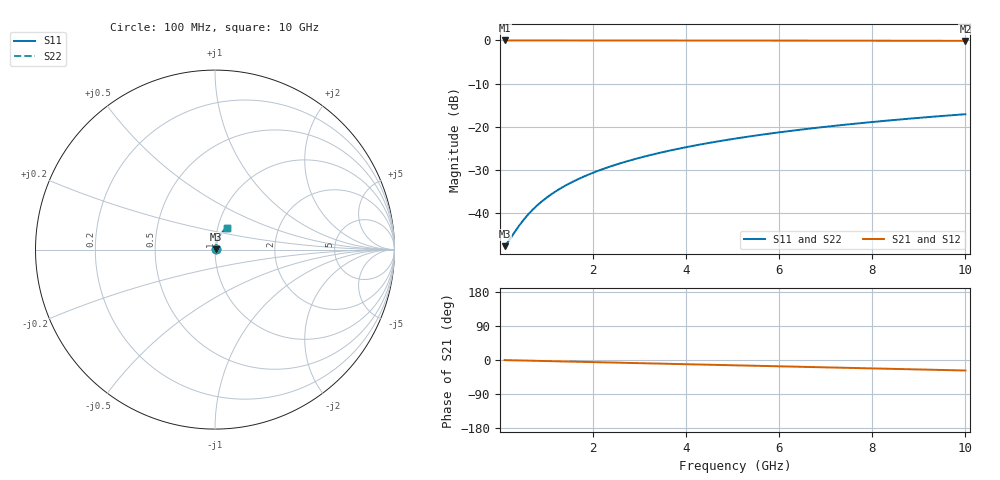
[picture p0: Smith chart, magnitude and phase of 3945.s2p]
# Hz S RI R 50.00
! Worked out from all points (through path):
!   100 points, 100 MHz to 10 GHz, reference 50 ohm
!   highest |S21| = -0.03 dB at 100 MHz (marker M1); lowest = -0.1 dB at 10 GHz (marker M2)
!   group delay of S21, straight-line fit = 7.7 ps
!   lowest |S11| = -47.6 dB at 100 MHz (marker M3), VSWR 1.01, Z = 50.4 + j0.145 ohm
!   |S11| at or under -10 dB: start of sweep to end of sweep
!   |S22| runs from -47.6 to -17.1 dB; largest |S21 - S12| = 0
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1e8  0.00391 0.00144  0.9961 -0.00483  0.9961 -0.00483  0.00391 0.00144
2e8  0.00395 0.00288  0.996 -0.00965  0.996 -0.00965  0.00395 0.00288
4e8  0.00407 0.00576  0.9958 -0.0193  0.9958 -0.0193  0.00407 0.00576
5e8  0.00414 0.0072  0.9957 -0.0241  0.9957 -0.0241  0.00414 0.0072
6e8  0.00423 0.00864  0.9955 -0.029  0.9955 -0.029  0.00423 0.00864
7e8  0.00433 0.0101  0.9954 -0.0338  0.9954 -0.0338  0.00433 0.0101
8e8  0.00445 0.0115  0.9952 -0.0386  0.9952 -0.0386  0.00445 0.0115
1e9  0.00471 0.0144  0.9947 -0.0482  0.9947 -0.0482  0.00471 0.0144
1.2e9  0.00503 0.0172  0.9941 -0.0579  0.9941 -0.0579  0.00503 0.0172
1.5e9  0.00561 0.0215  0.993 -0.0723  0.993 -0.0723  0.00561 0.0215
1.8e9  0.00632 0.0258  0.9918 -0.0867  0.9918 -0.0867  0.00632 0.0258
2.1e9  0.00714 0.03  0.9903 -0.1011  0.9903 -0.1011  0.00714 0.03
2.5e9  0.00843 0.0356  0.9879 -0.1203  0.9879 -0.1203  0.00843 0.0356
2.9e9  0.00994 0.0412  0.9851 -0.1394  0.9851 -0.1394  0.00994 0.0412
3.4e9  0.0121 0.048  0.9811 -0.1631  0.9811 -0.1631  0.0121 0.048
4.2e9  0.0163 0.0587  0.9734 -0.2009  0.9734 -0.2009  0.0163 0.0587
5.1e9  0.022 0.0703  0.9628 -0.2429  0.9628 -0.2429  0.022 0.0703
5.9e9  0.0278 0.0802  0.9518 -0.2797  0.9518 -0.2797  0.0278 0.0802
6.7e9  0.0344 0.0895  0.9393 -0.316  0.9393 -0.316  0.0344 0.0895
7.5e9  0.0417 0.0984  0.9254 -0.3516  0.9254 -0.3516  0.0417 0.0984
8.4e9  0.0507 0.1076  0.9079 -0.3909  0.9079 -0.3909  0.0507 0.1076
1e10  0.0685 0.1219  0.8727 -0.4583  0.8727 -0.4583  0.0685 0.1219
